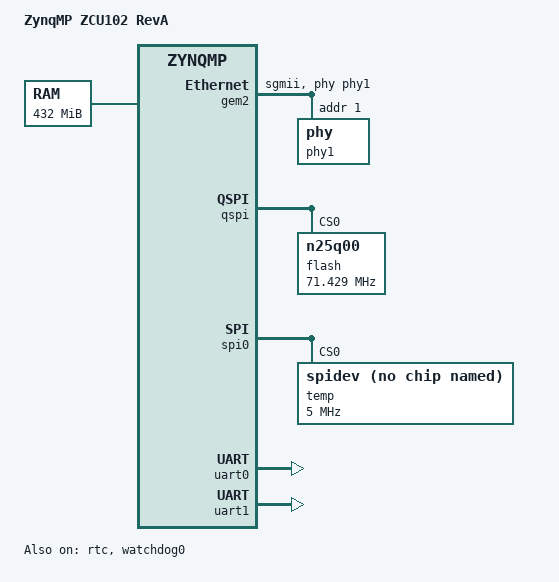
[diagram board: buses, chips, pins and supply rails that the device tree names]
/*
 * dts file for Xilinx ZynqMP ZCU102
 *
 * (C) Copyright 2015, Xilinx, Inc.
 *
 * Michal Simek <michal.simek@xilinx.com>
 *
 * SPDX-License-Identifier:	GPL-2.0+
 */

/dts-v1/;

/include/ "zynqmp.dtsi"
/include/ "zynqmp-clk.dtsi"

/ {
	model = "ZynqMP ZCU102 RevA";
	compatible = "xlnx,zynqmp-zcu102", "xlnx,zynqmp";

	aliases {
		ethernet0 = &gem2;
		gpio0 = &gpio;
		rtc0 = &rtc;
		serial0 = &uart0;
		serial1 = &uart1;
		spi00 = &qspi;
		spi01 = &spi0;
		watchdog0 = &watchdog0;
	};

	chosen {
		bootargs = "earlycon isolcpus=2,3";
		stdout-path = "serial0:115200n8";
	};

	memory {
		device_type = "memory";
		reg = <0x0 0x0 0x0 0x1b000000>;
	};
	pram@1e000000 {
			compatible = "mtd-ram";
			reg = <0x0 0x1e000000 0x0 0x1f80000>;
			bank-width = <4>;
			#address-cells = <2>;
			#size-cells = <2>;
			partition@pram {
				label = "pram";
				reg = <0x0 0x0 0x0 0x1f80000>;
			};
		};	
};

&gem2 {
	status = "okay";
	phy-handle = <&phy1>;
	phy-mode = "sgmii";
	phy1: phy@1 {
		reg = <1>;
	};
};

&gpio {
	status = "okay";
};

&qspi {
	status = "okay";
	is-dual = <1>;
	flash@0 {
		compatible = "n25q00";
		#address-cells = <1>;
		#size-cells = <1>;
		reg = <0x0>;
		spi-tx-bus-width = <1>;
		spi-rx-bus-width = <1>;
		spi-max-frequency = <71428571>; 
	};
};

&spi0 {
	status = "okay";
	num-cs = <3>;
	temp@0 {
		compatible = "rohm,dh2228fv";
		spi-max-frequency = <5000000>;
		reg = <0>;
	} ;
};

&rtc {
	status = "okay";
};

&uart0 {
	status = "okay";
};

&uart1 {
	status = "okay";
};

&watchdog0 {
	status = "okay";
	clocks = <&clk100>;
	reset-on-timeout;
};

&amba {
		misc_reset@1ffff000 {
		compatible = "generic-uio";
		reg = <0x0 0x1ffff000 0x0 0x1000>;
		};
		
		reset_ctrl@0xff5e0000 {
		compatible = "generic-uio";
		reg = <0x0 0xff5e0000 0x0 0x1000>;
		};
		
		trxm_cpri@a0000000 {
		compatible = "generic-uio";
		reg = <0x0 0xa0000000 0x0 0x200000>;
		};
		
		trxm_fpga@a0000000 {
		compatible = "generic-uio";
		reg = <0x0 0xa0000000 0x0 0x200000>;
		};
		
		trxm_int@a8000000 {
		compatible = "generic-uio";
		reg = <0x0 0xa8000000 0x0 0x200000>;
		interrupts = <0 89 4>;
		interrupt-parent = <&gic>;
		};

		trxm_reg@a0000000 {
		compatible = "generic-uio";
		reg = <0x0 0xa0000000 0x0 0x200000>;
		};
		
		ecp0@a0000000 {
		compatible = "generic-uio";
		reg = <0x0 0xa0000000 0x0 0x200000>;
		interrupts = <0 90 4>;
		interrupt-parent = <&gic>;
		};

		dpd_per0@b0000000 {
		compatible = "generic-uio";
		reg = <0x0 0xb0000000 0x0 0x400000>;
		};

		dpd_mem0@b1000000 {
		compatible = "generic-uio";
		reg = <0x0 0xb1000000 0x0 0x1000>;
		};

		dpd_per1@a0000000 {
		compatible = "generic-uio";
		reg = <0x0 0xb2000000 0x0 0x400000>;
		};

		dpd_mem1@a0000000 {
		compatible = "generic-uio";
		reg = <0x0 0xb3000000 0x0 0x1000>;
		};

		fpga_dbg@1b400000 {
		compatible = "generic-uio";
		reg = <0x0 0x1b400000 0x0 0x2800000>;
		};

		ac_mem@1dc00000 {
		compatible = "generic-uio";
		reg = <0x0 0x1dc00000 0x0 0x400000>;
		};

};
